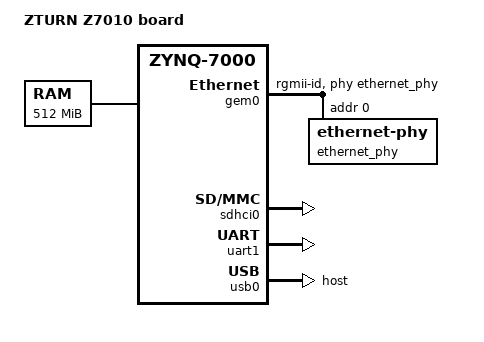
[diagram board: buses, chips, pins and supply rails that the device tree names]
/dts-v1/;
#include "zynq-7000.dtsi"

/ {
	model = "ZTURN Z7010 board";
	compatible = "xlnx,zynq-7000";

	aliases {
		ethernet0 = &gem0;
		serial0 = &uart1;
		mmc0 = &sdhci0;
	};

	memory@0 {
		device_type = "memory";
		reg = <0x0 0x20000000>;
	};

	chosen {
		bootargs = "";
		stdout-path = "serial0:115200n8";
	};
};

&clkc {
	ps-clk-frequency = <33333333>;
};

&gem0 {
	status = "okay";
	phy-mode = "rgmii-id";
	phy-handle = <&ethernet_phy>;

	ethernet_phy: ethernet-phy@0 {
		reg = <0>;
		device_type = "ethernet-phy";
	};
};

&sdhci0 {
	u-boot,dm-pre-reloc;
	status = "okay";
};

&uart1 {
	u-boot,dm-pre-reloc;
	status = "okay";
};

&usb0 {
	status = "okay";
	dr_mode = "host";
};
